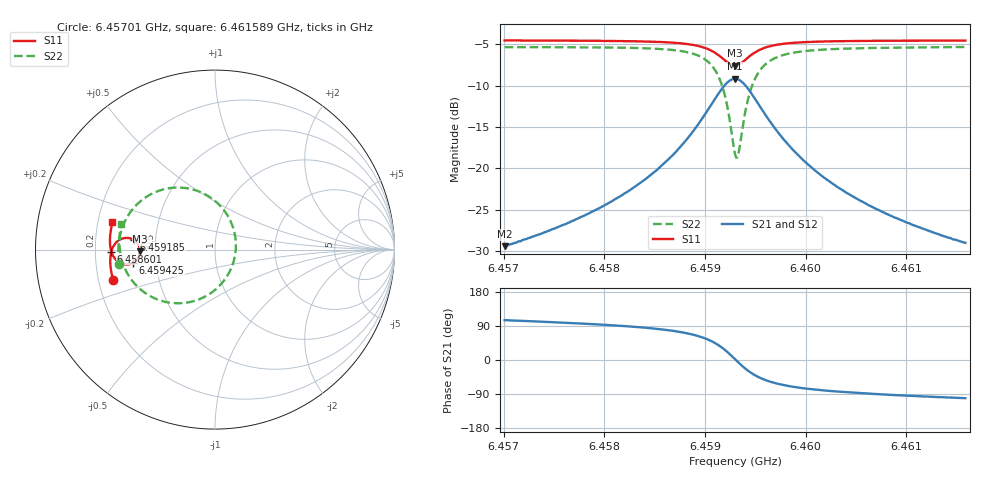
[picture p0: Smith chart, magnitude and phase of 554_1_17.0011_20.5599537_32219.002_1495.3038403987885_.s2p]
#  HZ  S  RI  R  50.00
! Rohde & Schwarz Vector Network Analyzer
! Rohde-Schwarz,ZNB20-2Port,1311601062101988,3.16
! Created: UTC 3/20/2024, 11:16:55 PM
! freq[Hz]  re:S11  im:S11  re:S21  im:S21  re:S12  im:S12  re:S22  im:S22
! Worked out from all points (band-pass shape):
!   401 points, 6.45701 GHz to 6.461589 GHz, reference 50 ohm
!   highest |S21| = -9.18 dB at 6.459299 GHz (marker M1); lowest = -29.4 dB at 6.45701 GHz (marker M2)
!   |S21| within 3 dB of the highest: 6.459071 GHz to 6.459529 GHz (458.1 kHz wide, 0.00709 % of centre)
!   lowest |S11| = -7.6 dB at 6.459299 GHz (marker M3), VSWR 2.43, Z = 20.6 - j0.451 ohm
!   |S11| at or under -10 dB: nowhere
!   |S22| runs from -18.7 to -5.3 dB; largest |S21 - S12| = 0.014
!   S11 on the Smith chart (normalised r, x): 6.45701 GHz: 0.26, -0.14; 6.458601 GHz: 0.27, -0.01; 6.459185 GHz: 0.37, +0.05; 6.459425 GHz: 0.37, -0.07; 6.461589 GHz: 0.26, +0.12
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6.4570096e9  -0.5674 -0.1699  -0.00876 0.0327  -0.00705 0.0325  -0.5334 -0.082
6.4577766e9  -0.5811 -0.1025  -0.00535 0.0507  -0.0029 0.05  -0.5382 0.00826
6.4582345e9  -0.5838 -0.0561  0.0015 0.0724  0.00492 0.071  -0.5283 0.0822
6.4585437e9  -0.5798 -0.0187  0.0146 0.0992  0.0186 0.0964  -0.5038 0.1536
6.4586009e9  -0.578 -0.0109  0.019 0.1062  0.0231 0.1029  -0.4955 0.1702
6.458807e9  -0.5648 0.0211  0.0468 0.1386  0.0509 0.1336  -0.4435 0.2431
6.4589558e9  -0.542 0.0474  0.0925 0.169  0.0955 0.1623  -0.3592 0.3075
6.4590932e9  -0.4979 0.0649  0.1799 0.1855  0.1809 0.1781  -0.1988 0.3457
6.4591848e9  -0.4533 0.0544  0.2704 0.1538  0.2706 0.148  -0.0315 0.2945
6.4592535e9  -0.4242 0.0222  0.331 0.0813  0.3331 0.0761  0.0842 0.1637
6.4592993e9  -0.4173 -0.00905  0.3471 0.0132  0.351 0.00612  0.1162 0.036
6.4593107e9  -0.4177 -0.0171  0.3468 -0.00477  0.3509 -0.0124  0.116 0.00188
6.4593336e9  -0.4214 -0.0327  0.3412 -0.0397  0.3451 -0.0489  0.1044 -0.0643
6.4593794e9  -0.4369 -0.0589  0.3124 -0.0997  0.3146 -0.1118  0.046 -0.178
6.4594252e9  -0.4592 -0.0754  0.2698 -0.141  0.2692 -0.1543  -0.0399 -0.2532
6.4595168e9  -0.5028 -0.0822  0.1846 -0.172  0.1783 -0.1836  -0.2103 -0.2989
6.4596656e9  -0.5467 -0.0616  0.0964 -0.1577  0.0877 -0.164  -0.3788 -0.2487
6.4598259e9  -0.5684 -0.0339  0.0513 -0.1296  0.0436 -0.1323  -0.4597 -0.1758
6.4600663e9  -0.5809 0.00192  0.0221 -0.0979  0.0162 -0.0984  -0.5073 -0.0929
6.4604098e9  -0.5854 0.0426  0.00593 -0.0706  0.00201 -0.0702  -0.5287 -0.0135
6.4608334e9  -0.5836 0.0854  -0.00158 -0.0521  -0.00443 -0.0513  -0.5327 0.055
6.461589e9  -0.5713 0.1523  -0.00664 -0.0348  -0.00838 -0.0338  -0.5212 0.1447
